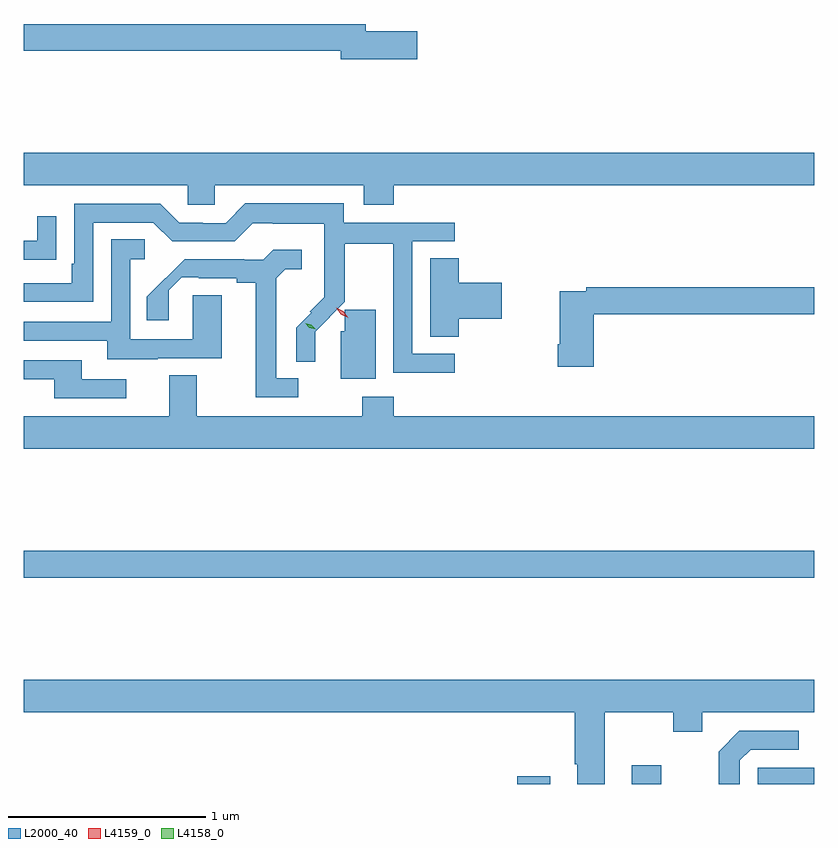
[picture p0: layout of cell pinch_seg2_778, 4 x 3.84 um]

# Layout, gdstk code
import gdstk
lib = gdstk.Library(unit=1e-6, precision=1e-09)
def R(c, l, rs):  # rectangles x0, y0, x1, y1
    for r in rs: c.add(gdstk.rectangle(r[:2], r[2:], *l))
def P(c, l, *ps):  # polygons
    for p in ps: c.add(gdstk.Polygon(p, *l))
L2000_40 = (2000, 40)
L4158_0 = (4158, 0)
L4159_0 = (4159, 0)

pinch_seg2_778 = lib.new_cell('pinch_seg2_778')
R(pinch_seg2_778, L2000_40, [(736.334,604.648,736.501,604.687), (736.913,604.648,737.062,604.744), (737.55,604.648,737.837,604.731), (733.837,605.692,737.837,605.828)])
P(pinch_seg2_778, L2000_40, [(735.829,608.456),(735.568,608.456),(735.568,608.492),(733.837,608.492),(733.837,608.356),(735.44,608.356),(735.44,608.314),(735.829,608.314)],
  [(735.71,607.676),(737.837,607.676),(737.837,607.84),(733.837,607.84),(733.837,607.676),(734.667,607.676),(734.667,607.578),(734.805,607.578),(734.805,607.676),(735.557,607.676),(735.557,607.577),(735.71,607.577)],
  [(736.018,606.825),(735.804,606.825),(735.804,607.392),(736.018,607.392),(736.018,607.488),(735.456,607.488),(735.456,607.585),(734.959,607.585),(734.859,607.485),(734.744,607.485),(734.744,607.488),(734.625,607.488),(734.529,607.584),(734.094,607.584),(734.094,607.279),(734.081,607.279),(734.081,607.182),(733.837,607.182),(733.837,607.086),(734.19,607.086),(734.19,607.488),(734.493,607.488),(734.589,607.392),(734.904,607.392),(734.997,607.485),(735.097,607.485),(735.097,607.481),(735.359,607.481),(735.359,607.111),(735.285,607.037),(735.291,607.031),(735.216,606.956),(735.216,606.784),(735.311,606.784),(735.311,606.936),(735.461,607.086),(735.461,607.38),(735.706,607.38),(735.706,607.156),(735.708,607.156),(735.708,606.727),(736.018,606.727)],
  [(733.901,607.3),(734.003,607.3),(734.003,607.519),(733.907,607.519),(733.907,607.395),(733.837,607.395),(733.837,607.299),(733.901,607.299)],
  [(734.515,606.801),(734.839,606.801),(734.839,607.121),(734.693,607.121),(734.693,606.897),(734.376,606.897),(734.376,607.302),(734.449,607.302),(734.449,607.403),(734.28,607.403),(734.28,606.987),(733.837,606.987),(733.837,606.891),(734.261,606.891),(734.261,606.797),(734.515,606.797)],
  [(735.226,606.699),(735.115,606.699),(735.115,607.207),(735.16,607.252),(735.244,607.252),(735.244,607.351),(735.1,607.351),(735.048,607.299),(734.954,607.299),(734.954,607.302),(734.651,607.302),(734.461,607.112),(734.461,606.993),(734.571,606.993),(734.571,607.146),(734.637,607.212),(734.722,607.212),(734.722,607.206),(734.915,607.206),(734.915,607.184),(735.011,607.184),(735.011,606.603),(735.226,606.603)],
  [(736.037,607.001),(736.255,607.001),(736.255,607.184),(736.037,607.184),(736.037,607.307),(735.893,607.307),(735.893,606.91),(736.037,606.91)],
  [(736.721,607.024),(737.837,607.024),(737.837,607.16),(736.684,607.16),(736.684,607.14),(736.55,607.14),(736.55,606.871),(736.538,606.871),(736.538,606.759),(736.721,606.759)],
  [(735.619,607.046),(735.462,607.046),(735.462,606.938),(735.441,606.938),(735.441,606.698),(735.619,606.698)],
  [(734.356,606.696),(734.131,606.696),(734.131,606.792),(733.837,606.792),(733.837,606.696),(733.991,606.696),(733.991,606.6),(734.356,606.6)],
  [(737.837,606.508),(735.71,606.508),(735.71,606.607),(735.55,606.607),(735.55,606.508),(734.713,606.508),(734.713,606.716),(734.573,606.716),(734.573,606.508),(733.837,606.508),(733.837,606.344),(737.837,606.344)],
  [(736.777,605.012),(737.122,605.012),(737.122,604.913),(737.269,604.913),(737.269,605.012),(737.837,605.012),(737.837,605.176),(733.837,605.176),(733.837,605.012),(736.625,605.012),(736.625,604.747),(736.637,604.747),(736.637,604.648),(736.777,604.648)],
  [(737.46,604.767),(737.514,604.821),(737.758,604.821),(737.758,604.917),(737.457,604.917),(737.352,604.811),(737.352,604.648),(737.46,604.648)])
P(pinch_seg2_778, L4158_0, [(735.314,606.948),(735.283,606.955),(735.262,606.978),(735.262,606.978),(735.262,606.979),(735.293,606.972),(735.314,606.948),(735.314,606.948)])
P(pinch_seg2_778, L4159_0, [(735.479,607.007),(735.442,607.024),(735.418,607.056),(735.418,607.057),(735.418,607.057),(735.455,607.039),(735.479,607.007),(735.479,607.007)])

lib.write_gds('pinch_seg2_778.gds')
